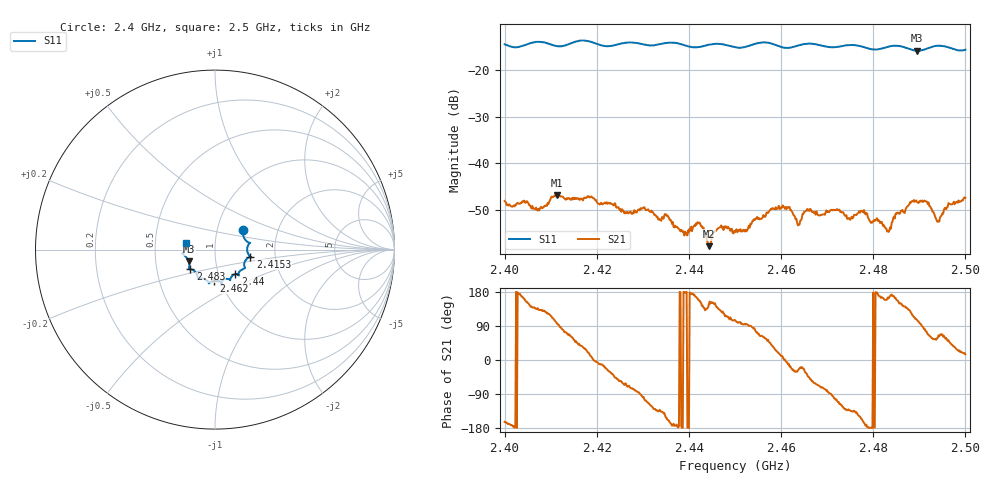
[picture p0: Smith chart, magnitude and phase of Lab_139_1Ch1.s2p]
# Hz S RI R 50
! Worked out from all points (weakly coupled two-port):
!   601 points, 2.4 GHz to 2.5 GHz, reference 50 ohm
!   highest |S21| = -46.86 dB at 2.4113 GHz (marker M1); lowest = -57.7 dB at 2.4443 GHz (marker M2)
!   lowest |S11| = -15.9 dB at 2.4895 GHz (marker M3), VSWR 1.38, Z = 37 - j5 ohm
!   |S11| at or under -10 dB: start of sweep to end of sweep
!   S12 and S22 are empty: the file has one direction only
!   S11 on the Smith chart (normalised r, x): 2.4 GHz: 1.33, +0.29; 2.4153 GHz: 1.48, -0.12; 2.44 GHz: 1.21, -0.34; 2.462 GHz: 0.93, -0.33; 2.483 GHz: 0.74, -0.17; 2.5 GHz: 0.72, +0.06
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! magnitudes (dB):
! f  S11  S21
! 2.4 GHz  -14.5  -48.0
! 2.4072 GHz  -14.0  -50.1
! 2.4113 GHz  -14.9  -46.9
! 2.4153 GHz  -14.0  -47.4
! 2.4167 GHz  -13.7  -47.6
! 2.4333 GHz  -14.6  -52.0
! 2.44 GHz  -15.0  -54.7
! 2.4423 GHz  -15.1  -52.7
! 2.4443 GHz  -14.6  -57.7
! 2.4465 GHz  -14.4  -53.8
! 2.45 GHz  -15.1  -54.7
! 2.458 GHz  -14.4  -49.7
! 2.462 GHz  -15.2  -50.0
! 2.4638 GHz  -14.7  -53.1
! 2.4667 GHz  -14.4  -50.4
! 2.4775 GHz  -15.0  -50.1
! 2.483 GHz  -15.1  -54.6
! 2.4833 GHz  -15.0  -54.7
! 2.4895 GHz  -15.9  -48.3
! 2.4917 GHz  -15.4  -48.2
! 2.494 GHz  -14.8  -52.5
! 2.5 GHz  -15.7  -47.4
